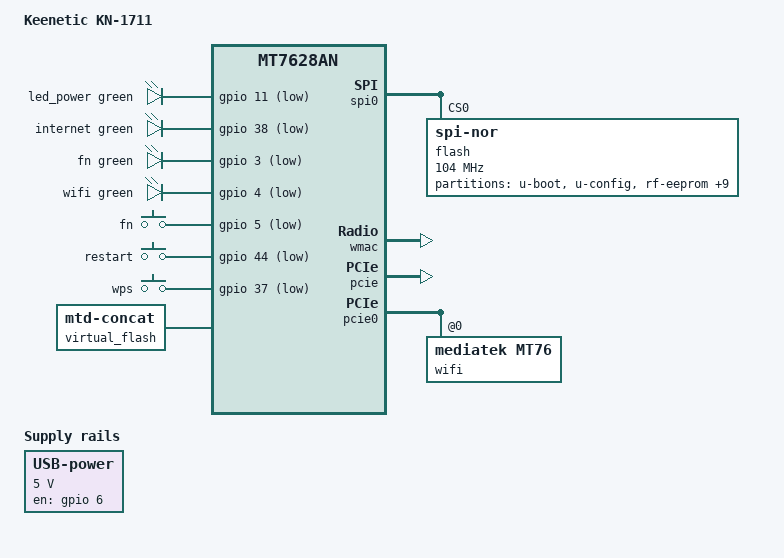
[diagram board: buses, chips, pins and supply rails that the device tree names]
// SPDX-License-Identifier: GPL-2.0-or-later OR MIT
#include "mt7628an.dtsi"

#include <dt-bindings/gpio/gpio.h>
#include <dt-bindings/input/input.h>
#include <dt-bindings/leds/common.h>

/ {
	compatible = "keenetic,kn-1711", "mediatek,mt7628an-soc";
	model = "Keenetic KN-1711";

	aliases {
		led-boot = &led_power;
		led-failsafe = &led_power;
		led-running = &led_power;
		led-upgrade = &led_power;
	};

	chosen {
		bootargs = "console=ttyS0,115200";
	};

	regulator-usb {
		compatible = "regulator-fixed";
		regulator-name = "USB-power";
		regulator-min-microvolt = <5000000>;
		regulator-max-microvolt = <5000000>;
		gpios = <&gpio 6 GPIO_ACTIVE_HIGH>;
		enable-active-high;
		regulator-always-on;
	};

	leds {
		compatible = "gpio-leds";

		led_power: power {
			function = LED_FUNCTION_POWER;
			color = <LED_COLOR_ID_GREEN>;
			gpios = <&gpio 11 GPIO_ACTIVE_LOW>;
		};

		internet {
			function = LED_FUNCTION_WAN;
			color = <LED_COLOR_ID_GREEN>;
			gpios = <&gpio 38 GPIO_ACTIVE_LOW>;
		};

		fn {
			function = LED_FUNCTION_WLAN_2GHZ;
			color = <LED_COLOR_ID_GREEN>;
			gpios = <&gpio 3 GPIO_ACTIVE_LOW>;
			linux,default-trigger = "phy0tpt";
		};

		wifi {
			function = LED_FUNCTION_WLAN_5GHZ;
			color = <LED_COLOR_ID_GREEN>;
			gpios = <&gpio 4 GPIO_ACTIVE_LOW>;
			linux,default-trigger = "phy1tpt";
		};
	};


	keys {
		compatible = "gpio-keys";

		fn {
			label = "fn";
			gpios = <&gpio 5 GPIO_ACTIVE_LOW>;
			linux,code = <BTN_0>;
		};

		reset {
			label = "restart";
			gpios = <&gpio 44 GPIO_ACTIVE_LOW>;
			linux,code = <KEY_RESTART>;
		};

		wps {
			label = "wps";
			gpios = <&gpio 37 GPIO_ACTIVE_LOW>;
			linux,code = <KEY_WPS_BUTTON>;
		};
	};

	virtual_flash {
		compatible = "mtd-concat";
		devices = <&firmware1 &firmware2>;

		partitions {
			compatible = "fixed-partitions";
			#address-cells = <1>;
			#size-cells = <1>;

			partition@0 {
				compatible = "denx,uimage";
				label = "firmware";
				reg = <0x0 0x1cc0000>;
			};
		};
	};
};

&state_default {
	gpio {
		groups = "i2s", "i2c", "gpio", "refclk", "wdt", "wled_an";
		function = "gpio";
	};
};

&spi0 {
	status = "okay";

	flash@0 {
		compatible = "jedec,spi-nor";
		reg = <0>;
		spi-max-frequency = <104000000>;

		partitions: partitions {
			compatible = "fixed-partitions";
			#address-cells = <1>;
			#size-cells = <1>;

			partition@0 {
				label = "u-boot";
				reg = <0x0 0x30000>;
				read-only;
			};

			partition@30000 {
				label = "u-config";
				reg = <0x30000 0x10000>;
				read-only;
			};

			partition@40000 {
				label = "rf-eeprom";
				reg = <0x40000 0x10000>;
				read-only;
				
				nvmem-layout {
					compatible = "fixed-layout";
					#address-cells = <1>;
					#size-cells = <1>;

					eeprom_factory_0: eeprom@0 {
						reg = <0x0 0x400>;
					};

					eeprom_factory_400: eeprom@400 {
						reg = <0x400 0x4da8>;
					};

					macaddr_factory_28: macaddr@28 {
						reg = <0x28 0x6>;
					};
				};
			};

			firmware1: partition@50000 {
				label = "firmware_1";
				reg = <0x50000 0xe60000>;
			};

			partition@eb0000 {
				label = "config_1";
				reg = <0xeb0000 0x40000>;
				read-only;
			};

			partition@ef0000 {
				label = "storage";
				reg = <0xef0000 0x100000>;
				read-only;
			};

			partition@ff0000 {
				label = "dump";
				reg = <0xff0000 0x10000>;
				read-only;
			};

			partition@1000000 {
				label = "u-state";
				reg = <0x1000000 0x30000>;
				read-only;
			};

			partition@1030000 {
				label = "u-config_res";
				reg = <0x1030000 0x10000>;
				read-only;
			};
			
			partition@1040000 {
				label = "rf-eeprom_res";
				reg = <0x1040000 0x10000>;
				read-only;
			};

			firmware2: partition@1050000 {
				label = "firmware_2";
				reg = <0x1050000 0xe60000>;
			};
			
			partition@1eb0000 {
				label = "Config_2";
				reg = <0x1eb0000 0x40000>;
				read-only;
			};
		};
	};
};

&ethernet {
	nvmem-cells = <&macaddr_factory_28>;
	nvmem-cell-names = "mac-address";
};

&esw {
	mediatek,portmap = <0x3e>;
};

&wmac {
	status = "okay";

	nvmem-cells = <&eeprom_factory_0>;
	nvmem-cell-names = "eeprom";
};

&pcie {
	status = "okay";
};

&pcie0 {
	wifi@0,0 {
		compatible = "mediatek,mt76";
		reg = <0x0000 0 0 0 0>;
		nvmem-cells = <&eeprom_factory_400>;
		nvmem-cell-names = "eeprom";
		ieee80211-freq-limit = <5000000 6000000>;
	};
};
